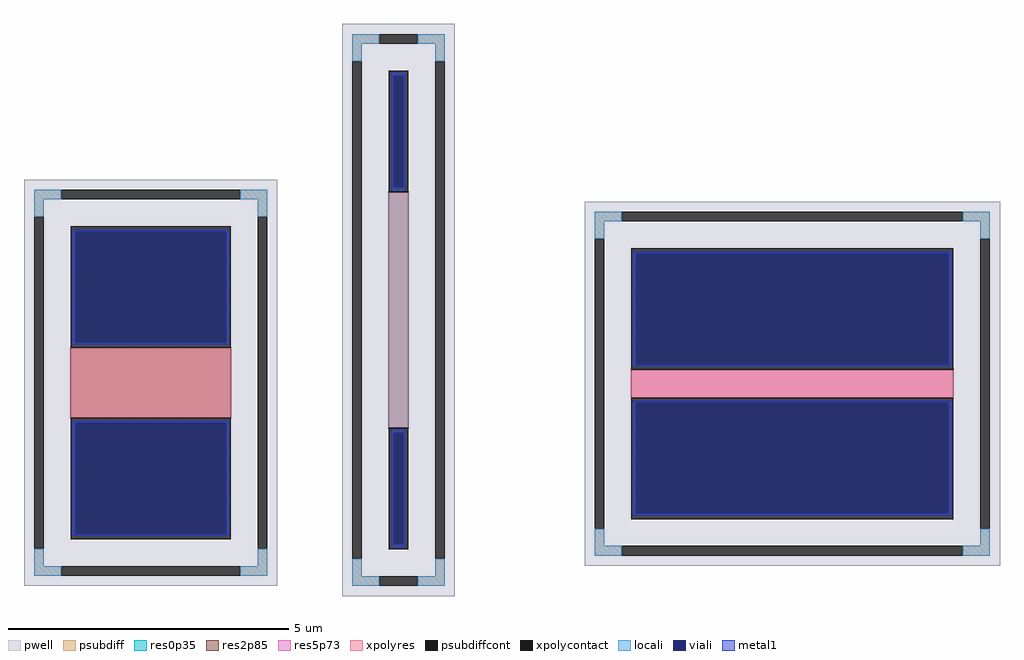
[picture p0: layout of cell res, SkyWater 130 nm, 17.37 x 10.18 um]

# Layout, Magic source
magic
tech sky130A
magscale 1 2
use sky130_fd_pr__res_xhigh_po_0p35_PZAK34  sky130_fd_pr__res_xhigh_po_0p35_PZAK34_0
transform 1 0 1282 0 1 927
box -201 -1018 201 1018
use sky130_fd_pr__res_xhigh_po_2p85_G9BUKC  sky130_fd_pr__res_xhigh_po_2p85_G9BUKC_0
transform 1 0 400 0 1 668
box -451 -723 451 723
use sky130_fd_pr__res_xhigh_po_5p73_TV8GX8  sky130_fd_pr__res_xhigh_po_5p73_TV8GX8_0
transform 1 0 2684 0 1 665
box -739 -648 739 648
<< end >>

# cell sky130_fd_pr__res_xhigh_po_0p35_PZAK34: kit device sky130_fd_pr__res_xhigh_po_0p35, w 0.350 l 4.2 m 1 nx 1 wmin 0.350 lmin 0.50 rho 2000 val 25.075k dummy 0 dw 0.0 term 188.2 sterm 0.0 caplen 0 wmax 0.350 guard 1 glc 1 grc 1 gtc 1 gbc 1 compatible {sky130_fd_pr__res_xhigh_po_0p35 sky130_fd_pr__res_xhigh_po_0p69 sky130_fd_pr__res_xhigh_po_1p41 sky130_fd_pr__res_xhigh_po_2p85 sky130_fd_pr__res_xhigh_po_5p73} full_metal 1 n_guard 0 hv_guard 0 vias 1 viagb 0 viagt 0 viagl 0 viagr 0

# cell sky130_fd_pr__res_xhigh_po_2p85_G9BUKC: kit device sky130_fd_pr__res_xhigh_po_2p85, w 2.850 l 1.250 m 1 nx 1 wmin 2.850 lmin 0.50 rho 2000 val 1.009k dummy 0 dw 0.0 term 188.2 sterm 0.0 caplen 0 wmax 2.850 guard 1 glc 1 grc 1 gtc 1 gbc 1 compatible {sky130_fd_pr__res_xhigh_po_0p35 sky130_fd_pr__res_xhigh_po_0p69 sky130_fd_pr__res_xhigh_po_1p41 sky130_fd_pr__res_xhigh_po_2p85 sky130_fd_pr__res_xhigh_po_5p73} full_metal 1 n_guard 0 hv_guard 0 vias 1 viagb 0 viagt 0 viagl 0 viagr 0

# cell sky130_fd_pr__res_xhigh_po_5p73_TV8GX8: kit device sky130_fd_pr__res_xhigh_po_5p73, w 5.730 l 0.50 m 1 nx 1 wmin 5.730 lmin 0.50 rho 2000 val 240.209 dummy 0 dw 0.0 term 188.2 sterm 0.0 caplen 0 wmax 5.730 guard 1 glc 1 grc 1 gtc 1 gbc 1 compatible {sky130_fd_pr__res_xhigh_po_0p35 sky130_fd_pr__res_xhigh_po_0p69 sky130_fd_pr__res_xhigh_po_1p41 sky130_fd_pr__res_xhigh_po_2p85 sky130_fd_pr__res_xhigh_po_5p73} full_metal 1 n_guard 0 hv_guard 0 vias 1 viagb 0 viagt 0 viagl 0 viagr 0
